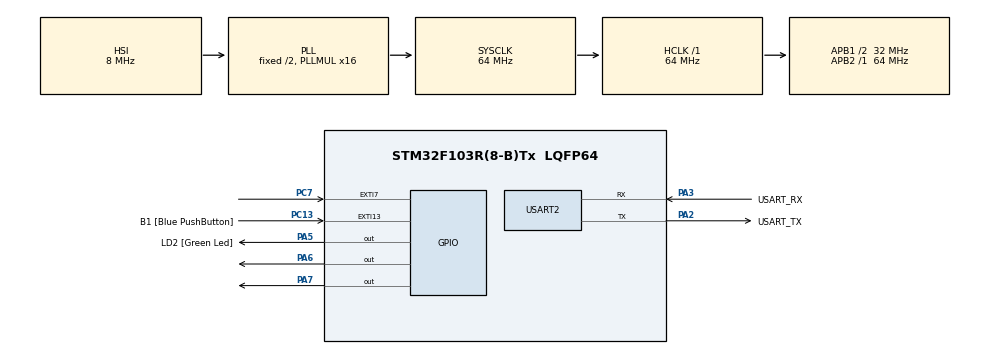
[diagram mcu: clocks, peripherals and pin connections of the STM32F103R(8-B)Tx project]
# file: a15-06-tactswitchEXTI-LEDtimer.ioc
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Mcu.Family=STM32F1
Mcu.Name=STM32F103R(8-B)Tx
Mcu.Package=LQFP64
NVIC.EXTI15_10_IRQn=true\:0\:0\:false\:false\:true\:true\:true
NVIC.EXTI9_5_IRQn=true\:0\:0\:false\:false\:true\:true\:true
NVIC.PriorityGroup=NVIC_PRIORITYGROUP_4
NVIC.TIM2_IRQn=true\:0\:0\:false\:false\:true\:true\:true
PA13.GPIO_Label=TMS
PA13.Mode=Serial_Wire
PA13.Signal=SYS_JTMS-SWDIO
PA14.GPIO_Label=TCK
PA14.Mode=Serial_Wire
PA14.Signal=SYS_JTCK-SWCLK
PA2.GPIO_Label=USART_TX
PA2.GPIO_Mode=GPIO_MODE_AF_PP
PA2.GPIO_PuPd=GPIO_NOPULL
PA2.GPIO_Speed=GPIO_SPEED_FREQ_LOW
PA2.Mode=Asynchronous
PA2.Signal=USART2_TX
PA3.GPIO_Label=USART_RX
PA3.GPIO_Mode=GPIO_MODE_AF_PP
PA3.GPIO_PuPd=GPIO_NOPULL
PA3.GPIO_Speed=GPIO_SPEED_FREQ_LOW
PA3.Mode=Asynchronous
PA3.Signal=USART2_RX
PA5.GPIO_Label=LD2 [Green Led]
PA5.GPIO_ModeDefaultOutputPP=GPIO_MODE_OUTPUT_PP
PA5.GPIO_PuPd=GPIO_NOPULL
PA5.GPIO_Speed=GPIO_SPEED_FREQ_LOW
PA5.Signal=GPIO_Output
PA6.Signal=GPIO_Output
PA7.Signal=GPIO_Output
PB3.GPIO_Label=SWO
PB3.Signal=SYS_JTDO-TRACESWO
PC13-TAMPER-RTC.GPIO_Label=B1 [Blue PushButton]
PC13-TAMPER-RTC.GPIO_PuPd=GPIO_NOPULL
PC13-TAMPER-RTC.Signal=GPXTI13
PC14-OSC32_IN.Mode=LSE-External-Oscillator
PC14-OSC32_IN.Signal=RCC_OSC32_IN
PC15-OSC32_OUT.Mode=LSE-External-Oscillator
PC15-OSC32_OUT.Signal=RCC_OSC32_OUT
PC7.Signal=GPXTI7
PD0-OSC_IN.Mode=HSE-External-Clock-Source
PD0-OSC_IN.Signal=RCC_OSC_IN
PD1-OSC_OUT.Mode=HSE-External-Clock-Source
PD1-OSC_OUT.Signal=RCC_OSC_OUT
ProjectManager.HeapSize=0x200
ProjectManager.StackSize=0x400
ProjectManager.TargetToolchain=STM32CubeIDE
RCC.AHBFreq_Value=64000000
RCC.APB1CLKDivider=RCC_HCLK_DIV2
RCC.APB1Freq_Value=32000000
RCC.APB1TimFreq_Value=64000000
RCC.APB2Freq_Value=64000000
RCC.APB2TimFreq_Value=64000000
RCC.HCLKFreq_Value=64000000
RCC.PLLMUL=RCC_PLL_MUL16
RCC.RTCClockSelection=RCC_RTCCLKSOURCE_LSE
RCC.SYSCLKFreq_VALUE=64000000
RCC.SYSCLKSource=RCC_SYSCLKSOURCE_PLLCLK
RCC.USBFreq_Value=64000000
TIM2.Period=1000-1
TIM2.Prescaler=64-1
USART2.VirtualMode=VM_ASYNC
VP_TIM2_VS_ClockSourceINT.Mode=Internal
board=NUCLEO-F103RB

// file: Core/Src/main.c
/* USER CODE BEGIN Header */
/**
  ******************************************************************************
  * @file           : main.c
  * @brief          : Main program body
  ******************************************************************************
  * @attention
  *
  * <h2><center>&copy; Copyright (c) 2022 STMicroelectronics.
  * All rights reserved.</center></h2>
  *
  * This software component is licensed by ST under BSD 3-Clause license,
  * the "License"; You may not use this file except in compliance with the
  * License. You may obtain a copy of the License at:
  *                        opensource.org/licenses/BSD-3-Clause
  *
  ******************************************************************************
  */
/* USER CODE END Header */

#include "main.h"

/* USER CODE BEGIN Includes */
#include "stdio.h"
/* USER CODE END Includes */

/* USER CODE BEGIN PD */

#ifdef __GNUC__
/* With GCC/RAISONANCE, small printf (option LD Linker->Libraries->Small printf set to 'Yes') calls __io_putchar() */
#define PUTCHAR_PROTOTYPE int __io_putchar(int ch)
#else
#define PUTCHAR_PROTOTYPE int fputc(int ch, FILE *f)
#endif /* __GNUC__ */

/* USER CODE END PD */

TIM_HandleTypeDef htim2;

UART_HandleTypeDef huart2;

/* USER CODE BEGIN PV */

char pc13flag; //PC13의 플래그
char pc7flag; //PC7의 플래그
int LED_pa6_cnt,LED_pa6_Limit; //PA6카운트, 제한 선언
int LED_pa7_cnt,LED_pa7_Limit; //PA7카운트, 제한 선언

short LED_PA6_PINSTATE;
short LED_PA7_PINSTATE;

/* USER CODE END PV */

void SystemClock_Config(void);
static void MX_GPIO_Init(void);
static void MX_USART2_UART_Init(void);
static void MX_TIM2_Init(void);

/* USER CODE BEGIN 0 */

PUTCHAR_PROTOTYPE
{
	/* Place your implementation of fputc here */
	/* e.g. write a character to the USART2 and Loop until the end of transmission */
	HAL_UART_Transmit(&huart2, (uint8_t *)&ch, 1, 0xFFFF);
	return ch;
}

void HAL_GPIO_EXTI_Callback(uint16_t GPIO_Pin)
{
	//외부 인터럽트 발생시 (아마 TACT 스위치가 눌린듯✨✨✨✨)
	if(GPIO_Pin == GPIO_PIN_13){ //GPIO핀입력이 13번이라면
		//HAL_GPIO_TogglePin(GPIOA, GPIO_PIN_5);
		if('n' == pc13flag){ //PC13의 플래그가 no상태라면 (main에서 정의됨)
			pc13flag = 'y'; //PC13을 yes 상태로 전환
			printf("-----pc13flag = %c-----\r\n",pc13flag); //PC13 플래그를 콘솔로 출력
			pc13flag = 'n'; //다시 PC13을 no로 바꿈

			//토글이 구현된게 아니라 누를 때 잠깐 yes로 바뀌었다가 바로 🎁🤢구라치고 no로 바뀜
		}

		/*

		//🎉🌹🌹🌹🎉🌹🌹 토글 코드. 아래 코드 주석 제거해서 사용

		if('n' == pc13flag){
			pc13flag = 'y';
		}else if('y' == pc13flag){
			pc13flag = 'n';
		}

		printf("-----pc13flag = %c-----\r\n",pc13flag);
		//13 플래그 출력

		*/
	}
	if(GPIO_Pin == GPIO_PIN_7){ //입력 GPIO핀이 7이라면
		//----- 여기에 코드를 추가하기 ------------------------------------------------

		//아마도 pc7의 플래그를 토글해야할듯? 위의 코드는 토글이 아니라 🎁🤢순간적으로 구라를 치는 것

		//🎉🌹🌹🌹🎉🌹🌹 토글 코드. 아래 코드 주석 제거해서 사용

		if('n' == pc7flag){
			pc7flag = 'y';

			LED_pa6_Limit = 300;
			LED_pa7_Limit = 800;

		}else if('y' == pc7flag){
			pc7flag = 'n';

			LED_pa6_Limit = 900;
			LED_pa7_Limit = 200;

		}

		printf("-----pc7flag = %c-----\r\n",pc7flag);
	}
}

void HAL_TIM_PeriodElapsedCallback(TIM_HandleTypeDef *htim)
{ //타이머 콜백 루프
	if(htim->Instance == htim2.Instance){

		LED_pa7_cnt++;
		LED_pa6_cnt++;

		if(LED_pa7_cnt >= LED_pa7_Limit){
			//LED7 cnt가 값을 넘어가면
			LED_pa7_cnt = 0;

			HAL_GPIO_TogglePin(GPIOA, GPIO_PIN_7);
			//LED_PA7_PINSTATE = !(LED_PA7_PINSTATE); //핀 값 반전
		}

		if(LED_pa6_cnt >= LED_pa6_Limit){
			//LED6가 값을 넘으면

			LED_pa6_cnt = 0; //초기화
			HAL_GPIO_TogglePin(GPIOA, GPIO_PIN_6);
			//LED_PA6_PINSTATE = !(LED_PA6_PINSTATE); //핀 값 반전

		}

		//위의 코드는 1ms마다 실행됩니다
		//----- 여기에 코드를 추가하기 ------------------------------------------------
	}
}

/* USER CODE END 0 */

int main(void)
{
  /* USER CODE BEGIN 1 */
	HAL_StatusTypeDef tim2_it_start;
  /* USER CODE END 1 */

  /* MCU Configuration--------------------------------------------------------*/

  /* Reset of all peripherals, Initializes the Flash interface and the Systick. */
  HAL_Init();

  /* Configure the system clock */
  SystemClock_Config();

  /* Initialize all configured peripherals */
  MX_GPIO_Init();
  MX_USART2_UART_Init();
  MX_TIM2_Init();

  /* Infinite loop */
  /* USER CODE BEGIN WHILE */
  printf("-a15- tact Switch(exti) & LED(timer)***\r\n"); //시작시 tact switch & led임을 알림

  tim2_it_start = HAL_TIM_Base_Start_IT(&htim2);

  if(HAL_OK == tim2_it_start){ //타이머 실행시
	  printf("HAL_TIM_Base_Start_IT OK\r\n"); //프린트
  }else{
	  printf("HAL_TIM_Base_Start_IT error\r\n");
  }

  pc13flag = 'n'; //PC13 플래그 no로 초기화
	pc7flag = 'n';
  //pc7flag = 'f'; //왜 시발 얘는 n이 아니라 f냐

	LED_PA6_PINSTATE = 1; //아래 RESET을 가져옴 RESET이 1임
	LED_PA7_PINSTATE = 1;

  LED_pa6_cnt = 0; //PA6 카운터 0으로 초기화
  LED_pa6_Limit = 900; //최댓값은 900
  LED_pa7_cnt = 0; //PA7 카운터 0으로 초기화
  LED_pa7_Limit = 200; //최댓값은 200
  HAL_GPIO_WritePin(GPIOA, GPIO_PIN_6, GPIO_PIN_RESET); //PA6 RESET
  HAL_GPIO_WritePin(GPIOA, GPIO_PIN_7, GPIO_PIN_RESET); //PA7 RESET
  /* USER CODE END 2 */
  /* Infinite loop */
  /* USER CODE BEGIN WHILE */
  while (1)
  {
    /* USER CODE END WHILE */
    /* USER CODE BEGIN 3 */

		/*
		if(LED_PA7_PINSTATE){
			HAL_GPIO_WritePin(GPIOA, GPIO_PIN_7, GPIO_PIN_RESET);
		}else{
			HAL_GPIO_WritePin(GPIOA, GPIO_PIN_7, GPIO_PIN_SET);
		}

		if(LED_PA6_PINSTATE){ //true -> reset false -> set
			HAL_GPIO_WritePin(GPIOA, GPIO_PIN_6, GPIO_PIN_RESET);
		}else{
			HAL_GPIO_WritePin(GPIOA, GPIO_PIN_6, GPIO_PIN_SET);
		}
*/

		/*
		External interrupt(rising)
Initial value
LED(PA6):900msToggle
LED(PA7):200msToggle
If(tact switch[first])
LED(PA6):300msToggle
LED(PA7):800msToggle
else If(tact switch[second])
LED(PA6):900msToggle
LED(PA7):200msToggle

		PC7에서 Interupt가 Rising 되었을 때 작동하는 현상들
		무슨뜻인지는 잘 모르겠다.

		🔊🔊🔊🔊🔊

		200ms 기다리고 토글하는걸까? 아니면 토글 하고 200ms 다음에 다시 토글하는걸까

		둘다 아니였다. 역시 c. 알아먹기가 쉽지 않다
		PA6와 PA7은 TACT 스위치의 인터럽트가 들어올 떄 마다 상단에 표기된 시간마다 깜빡이는 시간을 변경하는 코드였다
		👊👊👊
		*/

		/*
	  if('y' == pc7flag){ //PC7 플래그가 y라면
		  HAL_GPIO_WritePin(GPIOA, GPIO_PIN_6, GPIO_PIN_SET);
		  HAL_GPIO_WritePin(GPIOA, GPIO_PIN_7, GPIO_PIN_SET);
	  }else if('n' == pc7flag){

			//왜 하나만 켜지는건 없음?🐱‍👤🐱‍👤🐱‍👤🐱‍👤

		  HAL_GPIO_WritePin(GPIOA, GPIO_PIN_6, GPIO_PIN_RESET);
		  HAL_GPIO_WritePin(GPIOA, GPIO_PIN_7, GPIO_PIN_RESET);
	  }
		*/

	  HAL_GPIO_TogglePin(GPIOA, GPIO_PIN_5);
	  HAL_Delay(300);
  }  //end of while
  /* USER CODE END 3 */
}

void SystemClock_Config(void)
{
  RCC_OscInitTypeDef RCC_OscInitStruct = {0};
  RCC_ClkInitTypeDef RCC_ClkInitStruct = {0};

  /** Initializes the CPU, AHB and APB busses clocks
  */
  RCC_OscInitStruct.OscillatorType = RCC_OSCILLATORTYPE_HSI;
  RCC_OscInitStruct.HSIState = RCC_HSI_ON;
  RCC_OscInitStruct.HSICalibrationValue = RCC_HSICALIBRATION_DEFAULT;
  RCC_OscInitStruct.PLL.PLLState = RCC_PLL_ON;
  RCC_OscInitStruct.PLL.PLLSource = RCC_PLLSOURCE_HSI_DIV2;
  RCC_OscInitStruct.PLL.PLLMUL = RCC_PLL_MUL16;
  if (HAL_RCC_OscConfig(&RCC_OscInitStruct) != HAL_OK)
  {
    Error_Handler();
  }
  /** Initializes the CPU, AHB and APB busses clocks
  */
  RCC_ClkInitStruct.ClockType = RCC_CLOCKTYPE_HCLK|RCC_CLOCKTYPE_SYSCLK
                              |RCC_CLOCKTYPE_PCLK1|RCC_CLOCKTYPE_PCLK2;
  RCC_ClkInitStruct.SYSCLKSource = RCC_SYSCLKSOURCE_PLLCLK;
  RCC_ClkInitStruct.AHBCLKDivider = RCC_SYSCLK_DIV1;
  RCC_ClkInitStruct.APB1CLKDivider = RCC_HCLK_DIV2;
  RCC_ClkInitStruct.APB2CLKDivider = RCC_HCLK_DIV1;

  if (HAL_RCC_ClockConfig(&RCC_ClkInitStruct, FLASH_LATENCY_2) != HAL_OK)
  {
    Error_Handler();
  }
}

static void MX_TIM2_Init(void)
{

  TIM_ClockConfigTypeDef sClockSourceConfig = {0};
  TIM_MasterConfigTypeDef sMasterConfig = {0};

  htim2.Instance = TIM2;
  htim2.Init.Prescaler = 64-1;
  htim2.Init.CounterMode = TIM_COUNTERMODE_UP;
  htim2.Init.Period = 1000-1;
  htim2.Init.ClockDivision = TIM_CLOCKDIVISION_DIV1;
  htim2.Init.AutoReloadPreload = TIM_AUTORELOAD_PRELOAD_DISABLE;
  if (HAL_TIM_Base_Init(&htim2) != HAL_OK)
  {
    Error_Handler();
  }
  sClockSourceConfig.ClockSource = TIM_CLOCKSOURCE_INTERNAL;
  if (HAL_TIM_ConfigClockSource(&htim2, &sClockSourceConfig) != HAL_OK)
  {
    Error_Handler();
  }
  sMasterConfig.MasterOutputTrigger = TIM_TRGO_RESET;
  sMasterConfig.MasterSlaveMode = TIM_MASTERSLAVEMODE_DISABLE;
  if (HAL_TIMEx_MasterConfigSynchronization(&htim2, &sMasterConfig) != HAL_OK)
  {
    Error_Handler();
  }

}

static void MX_USART2_UART_Init(void)
{

  huart2.Instance = USART2;
  huart2.Init.BaudRate = 115200;
  huart2.Init.WordLength = UART_WORDLENGTH_8B;
  huart2.Init.StopBits = UART_STOPBITS_1;
  huart2.Init.Parity = UART_PARITY_NONE;
  huart2.Init.Mode = UART_MODE_TX_RX;
  huart2.Init.HwFlowCtl = UART_HWCONTROL_NONE;
  huart2.Init.OverSampling = UART_OVERSAMPLING_16;
  if (HAL_UART_Init(&huart2) != HAL_OK)
  {
    Error_Handler();
  }

}

static void MX_GPIO_Init(void)
{
  GPIO_InitTypeDef GPIO_InitStruct = {0};

  /* GPIO Ports Clock Enable */
  __HAL_RCC_GPIOC_CLK_ENABLE();
  __HAL_RCC_GPIOD_CLK_ENABLE();
  __HAL_RCC_GPIOA_CLK_ENABLE();
  __HAL_RCC_GPIOB_CLK_ENABLE();

  /*Configure GPIO pin Output Level */
  HAL_GPIO_WritePin(GPIOA, LD2_Pin|GPIO_PIN_6|GPIO_PIN_7, GPIO_PIN_RESET);

  /*Configure GPIO pins : B1_Pin PC7 */
  GPIO_InitStruct.Pin = B1_Pin|GPIO_PIN_7;
  GPIO_InitStruct.Mode = GPIO_MODE_IT_RISING;
  GPIO_InitStruct.Pull = GPIO_NOPULL;
  HAL_GPIO_Init(GPIOC, &GPIO_InitStruct);

  /*Configure GPIO pins : LD2_Pin PA6 PA7 */
  GPIO_InitStruct.Pin = LD2_Pin|GPIO_PIN_6|GPIO_PIN_7;
  GPIO_InitStruct.Mode = GPIO_MODE_OUTPUT_PP;
  GPIO_InitStruct.Pull = GPIO_NOPULL;
  GPIO_InitStruct.Speed = GPIO_SPEED_FREQ_LOW;
  HAL_GPIO_Init(GPIOA, &GPIO_InitStruct);

  /* EXTI interrupt init*/
  HAL_NVIC_SetPriority(EXTI9_5_IRQn, 0, 0);
  HAL_NVIC_EnableIRQ(EXTI9_5_IRQn);

  HAL_NVIC_SetPriority(EXTI15_10_IRQn, 0, 0);
  HAL_NVIC_EnableIRQ(EXTI15_10_IRQn);

}

void Error_Handler(void)
{
}

/************************ (C) COPYRIGHT STMicroelectronics *****END OF FILE****/
